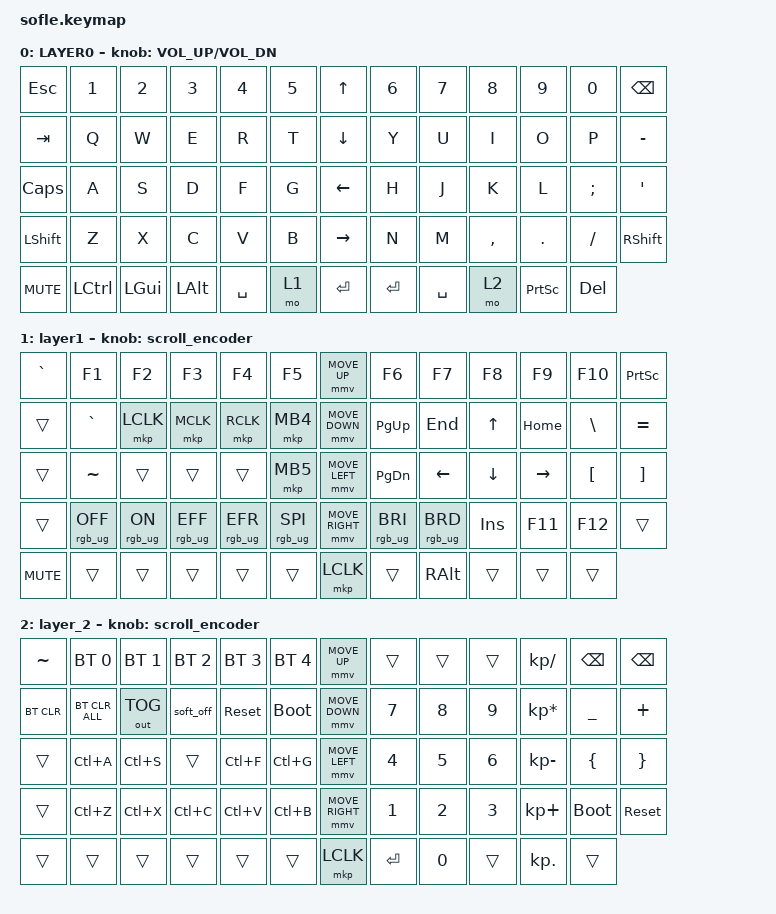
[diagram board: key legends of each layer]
#include <behaviors/mouse_keys.dtsi>
#include <behaviors.dtsi>
#include <dt-bindings/zmk/bt.h>
#include <dt-bindings/zmk/keys.h>
#include <dt-bindings/zmk/mouse.h>
#include <dt-bindings/zmk/outputs.h>
#include <dt-bindings/zmk/rgb.h>

#define ZMK_MOUSE_DEFAULT_MOVE_VAL 1200  // 600
#define ZMK_MOUSE_DEFAULT_SCRL_VAL 20    // 10
#define U_MS_U &mmv MOVE_UP
#define U_MS_D &mmv MOVE_DOWN
#define U_MS_L &mmv MOVE_LEFT
#define U_MS_R &mmv MOVE_RIGHT
#define ZMK_MOUSE_DEFAULT_MOVE_VAL 1200  //  600
#define ZMK_MOUSE_DEFAULT_SCRL_VAL 20    // 10

/ {
    behaviors {
        mmv {
            acceleration-exponent = <1>;      // 1
            time-to-max-speed-ms = <900>;    // 40
            delay-ms = <0>;                   // 0
        };

        msc {
            acceleration-exponent = <1>;      // 0
            time-to-max-speed-ms = <400>;      // 500
            delay-ms = <0>;                   //   10
        };
    };

    scroll_encoder: scroll_encoder {
        compatible = "zmk,behavior-sensor-rotate";
        #sensor-binding-cells = <0>;
        bindings = <&msc SCRL_DOWN>, <&msc SCRL_UP>;

        tap-ms = <30>;
    };

    keymap {
        compatible = "zmk,keymap";

        layer0 {
            bindings = <
&kp ESC     &kp N1     &kp N2        &kp N3        &kp N4     &kp N5    &kp UP_ARROW     &kp N6     &kp N7     &kp N8     &kp N9           &kp N0      &kp BACKSPACE
&kp TAB     &kp Q      &kp W         &kp E         &kp R      &kp T     &kp DOWN_ARROW   &kp Y      &kp U      &kp I      &kp O            &kp P       &kp MINUS
&kp CAPS    &kp A      &kp S         &kp D         &kp F      &kp G     &kp LEFT_ARROW   &kp H      &kp J      &kp K      &kp L            &kp SEMI    &kp APOS
&kp LSHFT   &kp Z      &kp X         &kp C         &kp V      &kp B     &kp RIGHT_ARROW  &kp N      &kp M      &kp COMMA  &kp DOT          &kp FSLH    &kp RIGHT_SHIFT
&kp C_MUTE  &kp LCTRL  &kp LEFT_GUI  &kp LEFT_ALT  &kp SPACE  &mo 1     &kp ENTER        &kp ENTER  &kp SPACE  &mo 2      &kp PRINTSCREEN  &kp DELETE
            >;

            sensor-bindings = <&inc_dec_kp C_VOLUME_UP C_VOL_DN>;
            display-name = "LAYER0";
        };

        layer_1 {
            bindings = <
&kp GRAVE   &kp F1           &kp F2          &kp F3           &kp F4           &kp F5             &mmv MOVE_UP     &kp F6           &kp F7           &kp F8      &kp F9     &kp F10           &kp PRINTSCREEN
&trans      &kp GRAVE        &mkp LCLK       &mkp MCLK        &mkp RCLK        &mkp MB4           &mmv MOVE_DOWN   &kp PG_UP        &kp END          &kp UP      &kp HOME   &kp BACKSLASH     &kp EQUAL
&trans      &kp TILDE        &trans          &trans           &trans           &mkp MB5           &mmv MOVE_LEFT   &kp PG_DN        &kp LEFT         &kp DOWN    &kp RIGHT  &kp LEFT_BRACKET  &kp RIGHT_BRACKET
&trans      &rgb_ug RGB_OFF  &rgb_ug RGB_ON  &rgb_ug RGB_EFF  &rgb_ug RGB_EFR  &rgb_ug RGB_SPI    &mmv MOVE_RIGHT  &rgb_ug RGB_BRI  &rgb_ug RGB_BRD  &kp INSERT  &kp F11    &kp F12           &trans
&kp C_MUTE  &trans           &trans          &trans           &trans           &trans             &mkp LCLK        &trans           &kp RIGHT_ALT    &trans      &trans     &trans
            >;

            display-name = "layer1";
            sensor-bindings = <&scroll_encoder>;
        };

        layer_2 {
            bindings = <
&kp TILDE   &bt BT_SEL 0    &bt BT_SEL 1  &bt BT_SEL 2  &bt BT_SEL 3  &bt BT_SEL 4    &mmv MOVE_UP     &trans     &trans  &trans  &kp KP_SLASH     &kp BACKSPACE  &kp BACKSPACE
&bt BT_CLR  &bt BT_CLR_ALL  &out OUT_TOG  &soft_off     &sys_reset    &bootloader     &mmv MOVE_DOWN   &kp N7     &kp N8  &kp N9  &kp KP_MULTIPLY  &kp UNDER      &kp PLUS
&trans      &kp LC(A)       &kp LC(S)     &trans        &kp LC(F)     &kp LC(G)       &mmv MOVE_LEFT   &kp N4     &kp N5  &kp N6  &kp KP_MINUS     &kp LBRC       &kp RBRC
&trans      &kp LC(Z)       &kp LC(X)     &kp LC(C)     &kp LC(V)     &kp LC(B)       &mmv MOVE_RIGHT  &kp N1     &kp N2  &kp N3  &kp KP_PLUS      &bootloader    &sys_reset
&trans      &trans          &trans        &trans        &trans        &trans          &mkp LCLK        &kp ENTER  &kp N0  &trans  &kp KP_DOT       &trans
            >;

            sensor-bindings = <&scroll_encoder>;
        };
    };
};
